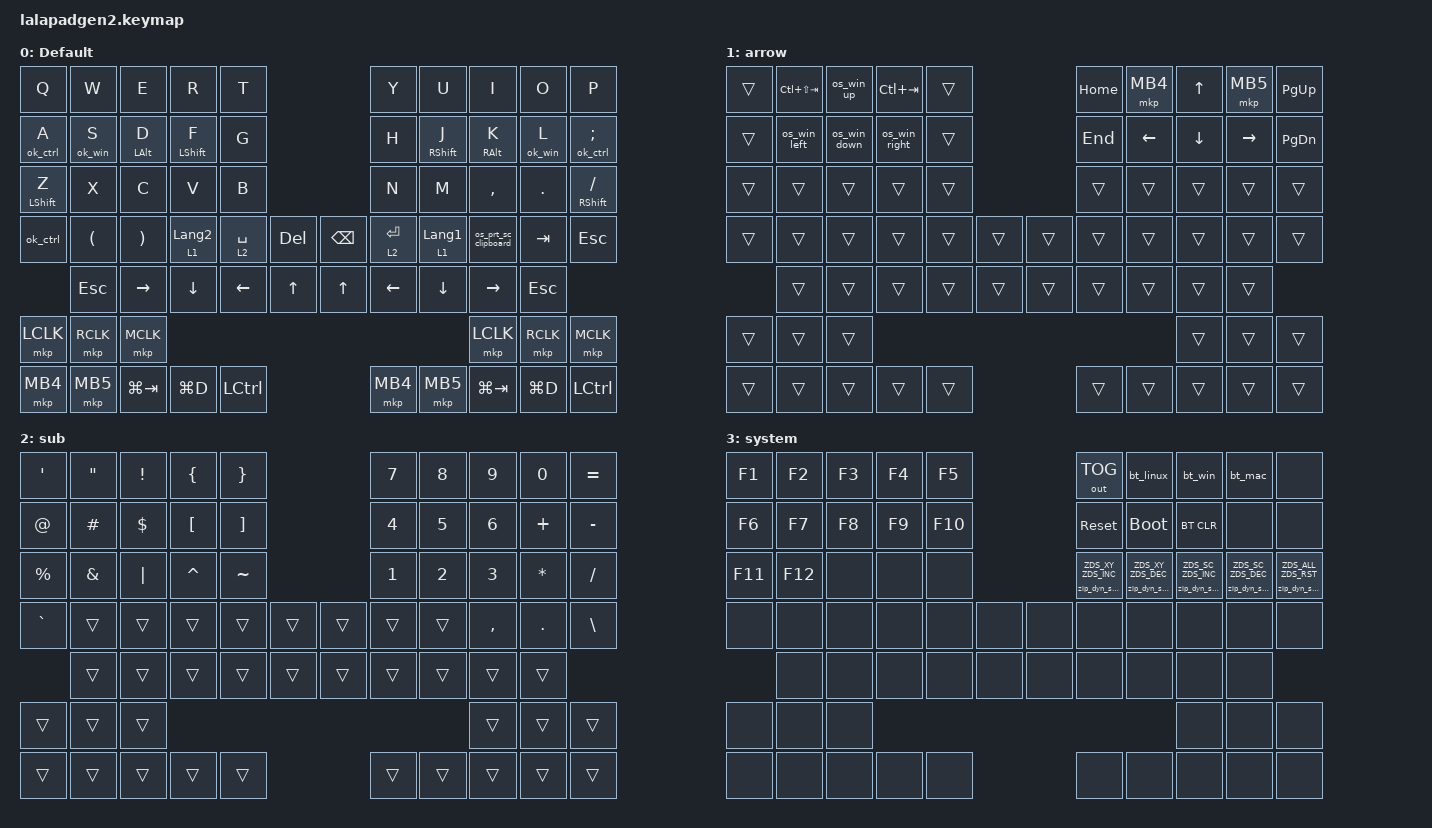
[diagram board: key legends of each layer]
#include <input/processors.dtsi>
#include <dt-bindings/zmk/zip_dynamic_scale.h>
#include <dt-bindings/zmk/oskey.h>
#include <behaviors/oskey.dtsi>
#include <behaviors.dtsi>
#include <dt-bindings/zmk/bt.h>
#include <dt-bindings/zmk/keys.h>
#include <dt-bindings/zmk/outputs.h>
#include <dt-bindings/zmk/pointing.h>

#define DEFAULT_LAYER   0
#define SECONDARY_LAYER 1
#define TERTIARY_LAYER  2
#define SYSTEM_LAYER    3

&mt { quick-tap-ms = <200>; };

&lt { quick-tap-ms = <200>; };

/ {
    behaviors {
        zip_dyn_scale: zip_dyn_scale {
            compatible = "zmk,behavior-zip-dynamic-scale";
            #binding-cells = <2>;
        };

        zip_dyn_scale_set: zip_dyn_scale_set {
            compatible = "zmk,behavior-zip-dynamic-scale-set";
            #binding-cells = <2>;
        };

        mt2: mod_tap2 {
            compatible = "zmk,behavior-hold-tap";
            #binding-cells = <2>;
            flavor = "balanced";
            tapping-term-ms = <200>;
            quick-tap-ms = <200>;
            require-prior-idle-ms = <125>;
            bindings = <&kp>, <&kp>;

            hold-trigger-on-release;
        };

        tap_dance_layer_1and2: tap_dance_layer_1and2 {
            compatible = "zmk,behavior-tap-dance";
            label = "td_mo12";
            #binding-cells = <0>;
            bindings = <&mo 0>, <&mo 0>;
        };

        tog_on: tog_on {
            compatible = "zmk,behavior-toggle-layer";
            label = "TOG_ON";
            #binding-cells = <1>;
        };

        tog_off: tog_off {
            compatible = "zmk,behavior-toggle-layer";
            label = "TOG_OFF";
            #binding-cells = <1>;
            toggle-mode = "off";
        };

        backspace_delete: backspace_delete {
            compatible = "zmk,behavior-mod-morph";
            label = "BACKSPACE_DELETE";
            bindings = <&kp BACKSPACE>, <&kp DEL>;

            #binding-cells = <0>;
            mods = <(MOD_LSFT)>;
        };

        os_sel: os_selector {
            compatible = "zmk,behavior-os-selector";
            #binding-cells = <1>;
        };

        /* Ctrl on Windows/Linux, Cmd (GUI) on macOS */

        ok_ctrl: os_key_ctrl {
            compatible = "zmk,behavior-os-key";
            #binding-cells = <0>;

            /*          Win          Mac         Lin  */

            bindings = <&kp LCTRL>, <&kp LGUI>, <&kp LCTRL>;
        };

        /* Alt on Windows/Linux, Option (Alt) on macOS — same key, shown for clarity */

        ok_win: os_key_win {
            compatible = "zmk,behavior-os-key";
            #binding-cells = <0>;

            /*          Win          Mac        Lin  */

            bindings = <&kp LGUI>, <&kp LCTRL>, <&kp LGUI>;
        };

        os_win_up: os_win_up {
            compatible = "zmk,behavior-os-key";
            #binding-cells = <0>;
            bindings = <&kp LG(UP)>, <&kp LC(UP)>, <&kp LG(UP)>;

            label = "OS_WIN_UP";
        };

        os_win_right: os_win_right {
            compatible = "zmk,behavior-os-key";
            #binding-cells = <0>;
            bindings = <&kp LG(RIGHT)>, <&kp LC(RIGHT)>, <&kp LG(RIGHT)>;

            label = "OS_WIN_RIGHT";
        };

        os_win_left: os_win_left {
            compatible = "zmk,behavior-os-key";
            #binding-cells = <0>;
            bindings = <&kp LG(LEFT)>, <&kp LC(LEFT)>, <&kp LG(LEFT)>;

            label = "OS_WIN_LEFT";
        };

        os_win_down: os_win_down {
            compatible = "zmk,behavior-os-key";
            #binding-cells = <0>;
            bindings = <&kp LG(DOWN)>, <&kp LC(DOWN)>, <&kp LG(DOWN)>;

            label = "OS_WIN_DOWN";
        };

        os_prt_sc_clipboard: os_prt_sc_clipboard {
            compatible = "zmk,behavior-os-key";
            #binding-cells = <0>;
            bindings =
                <&kp LG(LS(S))>,
                <&kp LG(LS(LC(NUMBER_4 )))>,
                <&kp LG(LS(S))>;

            label = "OS_PRINT_SCREN_CLIPBOARD";
        };

        ok_next_tab: os_key_next_tab {
            compatible = "zmk,behavior-os-key";
            #binding-cells = <0>;

            /*            Win           Mac              Lin  */

            bindings = <&kp LC(TAB)>, <&kp LG(TAB)>, <&kp LC(TAB)>;
        };

        ok_prev_tab: os_key_prev_tab {
            compatible = "zmk,behavior-os-key";
            #binding-cells = <0>;

            /*            Win           Mac              Lin  */

            bindings = <&kp LS(LC(TAB))>, <&kp LG(LS(TAB))>, <&kp LS(LC(TAB))>;
        };

        ok_mt2_win_l: ok_mt2_win_l {
            compatible = "zmk,behavior-hold-tap";
            #binding-cells = <2>;
            flavor = "balanced";
            tapping-term-ms = <1000>;
            quick-tap-ms = <200>;
            require-prior-idle-ms = <125>;
            bindings = <&ok_win>, <&kp>;

            label = "OK_MT2_WIN_L";
            hold-trigger-key-positions = <5 6 7 8 5 6 7 8 9 15 16 17 18 19 25 26 27 28 29 37 38 39 40 41 36>;
            hold-trigger-on-release;
        };

        ok_mt2_ctrl_l: ok_mt2_ctrl_l {
            compatible = "zmk,behavior-hold-tap";
            #binding-cells = <2>;
            flavor = "balanced";
            tapping-term-ms = <1000>;
            quick-tap-ms = <200>;
            require-prior-idle-ms = <125>;
            bindings = <&ok_ctrl>, <&kp>;

            label = "OK_MT2_CTRL_L";
            hold-trigger-key-positions = <5 6 7 8 9 15 16 17 18 19 25 26 27 28 29 37 38 39 40 41 36>;
            hold-trigger-on-release;
        };

        ok_mt2_win_r: ok_mt2_win_r {
            compatible = "zmk,behavior-hold-tap";
            #binding-cells = <2>;
            flavor = "balanced";
            tapping-term-ms = <1000>;
            quick-tap-ms = <200>;
            require-prior-idle-ms = <125>;
            bindings = <&ok_win>, <&kp>;

            label = "OK_MT2_WIN_R";
            hold-trigger-on-release;
            hold-trigger-key-positions = <0 1 2 3 4 10 11 12 13 14 20 21 22 23 24 30 31 32 33 34 35>;
        };

        ok_mt2_ctrl_r: ok_mt2_ctrl_r {
            compatible = "zmk,behavior-hold-tap";
            #binding-cells = <2>;
            flavor = "balanced";
            tapping-term-ms = <1000>;
            quick-tap-ms = <200>;
            require-prior-idle-ms = <125>;
            bindings = <&ok_ctrl>, <&kp>;

            label = "OK_MT2_CTRL_R";
            hold-trigger-on-release;
            hold-trigger-key-positions = <0 1 2 3 4 10 11 12 13 14 20 21 22 23 24 30 31 32 33 34 35>;
        };

        hrm_l: hrm_l {
            compatible = "zmk,behavior-hold-tap";
            #binding-cells = <2>;
            flavor = "balanced";
            tapping-term-ms = <1000>;
            quick-tap-ms = <200>;
            require-prior-idle-ms = <125>;
            bindings = <&kp>, <&kp>;

            label = "HRM_L";
            hold-trigger-key-positions = <5 6 7 8 5 6 7 8 9 15 16 17 18 19 25 26 27 28 29 37 38 39 40 41 36>;
            hold-trigger-on-release;
        };

        hrm_r: hrm_r {
            compatible = "zmk,behavior-hold-tap";
            #binding-cells = <2>;
            flavor = "balanced";
            tapping-term-ms = <1000>;
            quick-tap-ms = <200>;
            require-prior-idle-ms = <125>;
            bindings = <&kp>, <&kp>;

            label = "HRM_R";
            hold-trigger-on-release;
            hold-trigger-key-positions = <0 1 2 3 4 10 11 12 13 14 20 21 22 23 24 30 31 32 33 34 35>;
        };
    };

    combos {
        compatible = "zmk,combos";

        combo_minus2 {
            bindings = <&kp MINUS>;
            key-positions = <9 19>;
            layers = <0>;
        };
    };

    macros {
        bt_linux: bt_linux {
            compatible = "zmk,behavior-macro";
            #binding-cells = <0>;
            bindings = <&bt BT_SEL 0>, <&macro_wait_time 500>, <&os_sel OS_LIN>;

            label = "BT_LINUX";
        };

        bt_win: bt_win {
            compatible = "zmk,behavior-macro";
            #binding-cells = <0>;
            bindings = <&bt BT_SEL 1>, <&macro_wait_time 500>, <&os_sel OS_WIN>;

            label = "BT_WIN";
        };

        bt_mac: bt_mac {
            compatible = "zmk,behavior-macro";
            #binding-cells = <0>;
            bindings = <&bt BT_SEL 2>, <&macro_wait_time 500>, <&os_sel OS_MAC>;

            label = "BT_MAC";
        };
    };

    keymap {
        compatible = "zmk,keymap";

        DEFAULT_LAYER {
            display-name = "Default";
            bindings = <
&kp Q               &kp W                 &kp E                  &kp R             &kp T                                   &kp Y        &kp U             &kp I                 &kp O              &kp P
&ok_mt2_ctrl_l 0 A  &ok_mt2_win_l 0 S     &hrm_l LEFT_ALT D      &hrm_l LSHFT F    &kp G                                   &kp H        &hrm_r RSHIFT J   &hrm_r RIGHT_ALT K    &ok_mt2_win_r 0 L  &ok_mt2_ctrl_r 0 SEMI
&mt2 LEFT_SHIFT Z   &kp X                 &kp C                  &kp V             &kp B                                   &kp N        &kp M             &kp COMMA             &kp PERIOD         &mt2 RIGHT_SHIFT SLASH
&ok_ctrl            &kp LEFT_PARENTHESIS  &kp RIGHT_PARENTHESIS  &lt 1 LANGUAGE_2  &lt 2 SPACE  &kp DELETE  &kp BACKSPACE  &lt 2 ENTER  &lt 1 LANGUAGE_1  &os_prt_sc_clipboard  &kp TAB            &kp ESCAPE
                    &kp ESCAPE            &kp RIGHT              &kp DOWN          &kp LEFT     &kp UP      &kp UP         &kp LEFT     &kp DOWN          &kp RIGHT             &kp ESCAPE
&mkp LCLK           &mkp RCLK             &mkp MCLK                                                                                                       &mkp LCLK             &mkp RCLK          &mkp MCLK
&mkp MB4            &mkp MB5              &kp LG(TAB)            &kp LG(D)         &kp LCTRL                               &mkp MB4     &mkp MB5          &kp LG(TAB)           &kp LG(D)          &kp LCTRL
            >;
        };

        ARROW_LAYER {
            bindings = <
&trans  &kp LC(LS(TAB))  &os_win_up    &kp LC(TAB)    &trans                  &kp HOME  &mkp MB4  &kp UP    &mkp MB5   &kp PAGE_UP
&trans  &os_win_left     &os_win_down  &os_win_right  &trans                  &kp END   &kp LEFT  &kp DOWN  &kp RIGHT  &kp PAGE_DOWN
&trans  &trans           &trans        &trans         &trans                  &trans    &trans    &trans    &trans     &trans
&trans  &trans           &trans        &trans         &trans  &trans  &trans  &trans    &trans    &trans    &trans     &trans
        &trans           &trans        &trans         &trans  &trans  &trans  &trans    &trans    &trans    &trans
&trans  &trans           &trans                                                                   &trans    &trans     &trans
&trans  &trans           &trans        &trans         &trans                  &trans    &trans    &trans    &trans     &trans
            >;

            label = "arrow";
        };

        SUB_LAYER {
            bindings = <
&kp SINGLE_QUOTE  &kp DOUBLE_QUOTES  &kp EXCL    &kp LEFT_BRACE    &kp RIGHT_BRACE                    &kp NUMBER_7  &kp NUMBER_8  &kp NUMBER_9  &kp NUMBER_0  &kp EQUAL
&kp AT            &kp HASH           &kp DOLLAR  &kp LEFT_BRACKET  &kp RIGHT_BRACKET                  &kp NUMBER_4  &kp NUMBER_5  &kp NUMBER_6  &kp PLUS      &kp MINUS
&kp PERCENT       &kp AMPERSAND      &kp PIPE    &kp CARET         &kp TILDE                          &kp NUMBER_1  &kp NUMBER_2  &kp NUMBER_3  &kp ASTERISK  &kp SLASH
&kp GRAVE         &trans             &trans      &trans            &trans             &trans  &trans  &trans        &trans        &kp COMMA     &kp PERIOD    &kp BACKSLASH
                  &trans             &trans      &trans            &trans             &trans  &trans  &trans        &trans        &trans        &trans
&trans            &trans             &trans                                                                                       &trans        &trans        &trans
&trans            &trans             &trans      &trans            &trans                             &trans        &trans        &trans        &trans        &trans
            >;

            label = "sub";
        };

        SYSTEM_LAYER {
            bindings = <
&kp F1   &kp F2   &kp F3  &kp F4  &kp F5                 &out OUT_TOG                   &bt_linux                      &bt_win                        &bt_mac                        &none
&kp F6   &kp F7   &kp F8  &kp F9  &kp F10                &sys_reset                     &bootloader                    &bt BT_CLR                     &none                          &none
&kp F11  &kp F12  &none   &none   &none                  &zip_dyn_scale ZDS_XY ZDS_INC  &zip_dyn_scale ZDS_XY ZDS_DEC  &zip_dyn_scale ZDS_SC ZDS_INC  &zip_dyn_scale ZDS_SC ZDS_DEC  &zip_dyn_scale ZDS_ALL ZDS_RST
&none    &none    &none   &none   &none    &none  &none  &none                          &none                          &none                          &none                          &none
         &none    &none   &none   &none    &none  &none  &none                          &none                          &none                          &none
&none    &none    &none                                                                                                &none                          &none                          &none
&none    &none    &none   &none   &none                  &none                          &none                          &none                          &none                          &none
            >;

            label = "system";
        };
    };

    conditional_layers {
        compatible = "zmk,conditional-layers";

        Cond_Syslayer {
            if-layers = <1 2>;
            then-layer = <3>;
        };
    };
};
